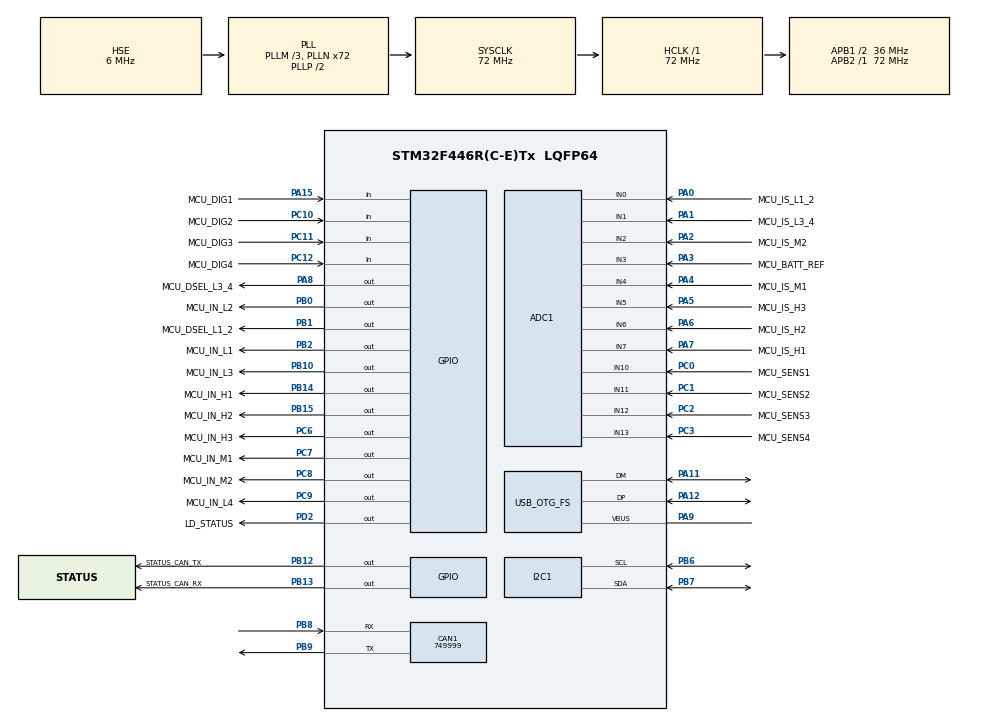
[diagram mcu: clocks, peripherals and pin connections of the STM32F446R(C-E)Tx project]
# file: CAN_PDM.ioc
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ADC1.Channel-0\#ChannelRegularConversion=ADC_CHANNEL_3
ADC1.NbrOfConversion=1
ADC1.NbrOfConversionFlag=1
ADC1.Rank-0\#ChannelRegularConversion=1
ADC1.SamplingTime-0\#ChannelRegularConversion=ADC_SAMPLETIME_3CYCLES
ADC1.master=1
CAN1.BS1=CAN_BS1_1TQ
CAN1.BS2=CAN_BS2_1TQ
CAN1.CalculateBaudRate=749999
CAN1.CalculateTimeBit=1333
CAN1.CalculateTimeQuantum=444.44444444444446
I2C1.I2C_Mode=I2C_Standard
Mcu.Family=STM32F4
Mcu.Name=STM32F446R(C-E)Tx
Mcu.Package=LQFP64
NVIC.OTG_FS_IRQn=true\:0\:0\:false\:false\:true\:false\:true\:true
NVIC.PriorityGroup=NVIC_PRIORITYGROUP_4
PA0-WKUP.GPIO_Label=MCU_IS_L1_2
PA0-WKUP.Signal=ADCx_IN0
PA1.GPIO_Label=MCU_IS_L3_4
PA1.Signal=ADCx_IN1
PA11.GPIO_PuPd=GPIO_NOPULL
PA11.Mode=Device_Only
PA11.Signal=USB_OTG_FS_DM
PA12.GPIO_PuPd=GPIO_NOPULL
PA12.Mode=Device_Only
PA12.Signal=USB_OTG_FS_DP
PA13.Mode=Trace_Asynchronous_SW
PA13.Signal=SYS_JTMS-SWDIO
PA14.Mode=Trace_Asynchronous_SW
PA14.Signal=SYS_JTCK-SWCLK
PA15.GPIO_Label=MCU_DIG1
PA15.Signal=GPIO_Input
PA2.GPIO_Label=MCU_IS_M2
PA2.Signal=ADCx_IN2
PA3.GPIO_Label=MCU_BATT_REF
PA3.Signal=ADCx_IN3
PA4.GPIO_Label=MCU_IS_M1
PA4.Signal=ADCx_IN4
PA5.GPIO_Label=MCU_IS_H3
PA5.Signal=ADCx_IN5
PA6.GPIO_Label=MCU_IS_H2
PA6.Signal=ADCx_IN6
PA7.GPIO_Label=MCU_IS_H1
PA7.Signal=ADCx_IN7
PA8.GPIO_Label=MCU_DSEL_L3_4
PA8.Signal=GPIO_Output
PA9.Mode=Activate_VBUS
PA9.Signal=USB_OTG_FS_VBUS
PB0.GPIO_Label=MCU_IN_L2
PB0.Signal=GPIO_Output
PB1.GPIO_Label=MCU_DSEL_L1_2
PB1.Signal=GPIO_Output
PB10.GPIO_Label=MCU_IN_L3
PB10.Signal=GPIO_Output
PB12.GPIO_Label=STATUS_CAN_TX
PB12.Signal=GPIO_Output
PB13.GPIO_Label=STATUS_CAN_RX
PB13.Signal=GPIO_Output
PB14.GPIO_Label=MCU_IN_H1
PB14.Signal=GPIO_Output
PB15.GPIO_Label=MCU_IN_H2
PB15.Signal=GPIO_Output
PB2.GPIO_Label=MCU_IN_L1
PB2.Signal=GPIO_Output
PB3.Mode=Trace_Asynchronous_SW
PB3.Signal=SYS_JTDO-SWO
PB6.Mode=I2C
PB6.Signal=I2C1_SCL
PB7.Mode=I2C
PB7.Signal=I2C1_SDA
PB8.Mode=CAN_Activate
PB8.Signal=CAN1_RX
PB9.Mode=CAN_Activate
PB9.Signal=CAN1_TX
PC0.GPIO_Label=MCU_SENS1
PC0.Signal=ADCx_IN10
PC1.GPIO_Label=MCU_SENS2
PC1.Signal=ADCx_IN11
PC10.GPIO_Label=MCU_DIG2
PC10.Signal=GPIO_Input
PC11.GPIO_Label=MCU_DIG3
PC11.Signal=GPIO_Input
PC12.GPIO_Label=MCU_DIG4
PC12.Signal=GPIO_Input
PC2.GPIO_Label=MCU_SENS3
PC2.Signal=ADCx_IN12
PC3.GPIO_Label=MCU_SENS4
PC3.Signal=ADCx_IN13
PC6.GPIO_Label=MCU_IN_H3
PC6.Signal=GPIO_Output
PC7.GPIO_Label=MCU_IN_M1
PC7.Signal=GPIO_Output
PC8.GPIO_Label=MCU_IN_M2
PC8.Signal=GPIO_Output
PC9.GPIO_Label=MCU_IN_L4
PC9.Signal=GPIO_Output
PD2.GPIO_Label=LD_STATUS
PD2.Signal=GPIO_Output
PH0-OSC_IN.Mode=HSE-External-Oscillator
PH0-OSC_IN.Signal=RCC_OSC_IN
PH1-OSC_OUT.Mode=HSE-External-Oscillator
PH1-OSC_OUT.Signal=RCC_OSC_OUT
ProjectManager.HeapSize=0x200
ProjectManager.StackSize=0x400
ProjectManager.TargetToolchain=STM32CubeIDE
RCC.AHBFreq_Value=72000000
RCC.APB1CLKDivider=RCC_HCLK_DIV2
RCC.APB1Freq_Value=36000000
RCC.APB1TimFreq_Value=72000000
RCC.APB2Freq_Value=72000000
RCC.APB2TimFreq_Value=72000000
RCC.CortexFreq_Value=72000000
RCC.HCLKFreq_Value=72000000
RCC.HSE_VALUE=6000000
RCC.PLLM=3
RCC.PLLN=72
RCC.PLLQ=3
RCC.PLLSourceVirtual=RCC_PLLSOURCE_HSE
RCC.SYSCLKFreq_VALUE=72000000
RCC.SYSCLKSource=RCC_SYSCLKSOURCE_PLLCLK
RCC.USBFreq_Value=48000000
RCC.VCOOutputFreq_Value=144000000
SH.ADCx_IN0.0=ADC1_IN0,IN0
SH.ADCx_IN1.0=ADC1_IN1,IN1
SH.ADCx_IN10.0=ADC1_IN10,IN10
SH.ADCx_IN11.0=ADC1_IN11,IN11
SH.ADCx_IN12.0=ADC1_IN12,IN12
SH.ADCx_IN13.0=ADC1_IN13,IN13
SH.ADCx_IN2.0=ADC1_IN2,IN2
SH.ADCx_IN3.0=ADC1_IN3,IN3
SH.ADCx_IN4.0=ADC1_IN4,IN4
SH.ADCx_IN5.0=ADC1_IN5,IN5
SH.ADCx_IN6.0=ADC1_IN6,IN6
SH.ADCx_IN7.0=ADC1_IN7,IN7
USB_DEVICE.CLASS_NAME_FS=CDC
USB_DEVICE.VirtualMode-CDC_FS=Cdc
USB_DEVICE.VirtualModeFS=Cdc_FS
USB_OTG_FS.VirtualMode=Device_Only
VP_USB_DEVICE_VS_USB_DEVICE_CDC_FS.Mode=CDC_FS
board=custom

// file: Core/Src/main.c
/* USER CODE BEGIN Header */
/**
  ******************************************************************************
  * @file           : main.c
  * @brief          : Main program body
  ******************************************************************************
  * @attention
  *
  * Copyright (c) 2025 STMicroelectronics.
  * All rights reserved.
  *
  * This software is licensed under terms that can be found in the LICENSE file
  * in the root directory of this software component.
  * If no LICENSE file comes with this software, it is provided AS-IS.
  *
  ******************************************************************************
  */
/* USER CODE END Header */
#include "main.h"
#include "adc.h"
#include "can.h"
#include "i2c.h"
#include "usb_device.h"
#include "gpio.h"

/* USER CODE BEGIN Includes */
#include "PCAL6524.h"
#include "MCP9803.h"
/* USER CODE END Includes */

/* USER CODE BEGIN PD */
uint16_t count = 0;
uint16_t voltage_mV = 0;
uint32_t vin_mV = 0;
#define R1 51000
#define R2 7500
#define ADC_REF_MV 3300  // 3.3V reference

int temperature;
/* USER CODE END PD */

void SystemClock_Config(void);

int main(void)
{

  /* MCU Configuration--------------------------------------------------------*/

  /* Reset of all peripherals, Initializes the Flash interface and the Systick. */
  HAL_Init();

  /* Configure the system clock */
  SystemClock_Config();

  /* Initialize all configured peripherals */
  MX_GPIO_Init();
  MX_CAN1_Init();
  MX_I2C1_Init();
  MX_USB_DEVICE_Init();
  MX_ADC1_Init();
  /* USER CODE BEGIN 2 */
  PCAL6524 Io_Exp;
  Io_Exp.hi2c = &hi2c1;       // handle I2C
  Io_Exp.i2c_addr = 0x22 << 1; // I2C Address PCAL6524

  //Set LOW logic pin to all pin
  PCAL6524_WritePort(&Io_Exp, 0, LOW);
  PCAL6524_WritePort(&Io_Exp, 1, LOW);
  PCAL6524_WritePort(&Io_Exp, 2, LOW);
  //Set port Direction to OUTPUT
  PCAL6524_SetPortDirection_io(&Io_Exp, 0, OUTPUT);
  PCAL6524_SetPortDirection_io(&Io_Exp, 1, OUTPUT);
  PCAL6524_SetPortDirection_io(&Io_Exp, 2, OUTPUT);
  //Delay for start-up
  HAL_Delay(1000);

  //Blink every output
  for (int var = 0; var < 8; ++var) {
	  PCAL6524_WritePin(&Io_Exp, 0, var, HIGH);
	  HAL_Delay(70);
	  PCAL6524_WritePin(&Io_Exp, 0, var, LOW);
	  HAL_Delay(70);
}
  for (int var = 0; var < 8; ++var) {
  	  PCAL6524_WritePin(&Io_Exp, 1, var, HIGH);
  	  HAL_Delay(70);
  	  PCAL6524_WritePin(&Io_Exp, 1, var, LOW);
  	  HAL_Delay(70);
  }
  for (int var = 0; var < 8; ++var) {
  	  PCAL6524_WritePin(&Io_Exp, 2, var, HIGH);
  	  HAL_Delay(70);
  	  PCAL6524_WritePin(&Io_Exp, 2, var, LOW);
  	  HAL_Delay(70);
  }

  /* USER CODE END 2 */

  /* Infinite loop */
  while (1)
  {

    /* USER CODE BEGIN 3 */
	  HAL_ADC_Start(&hadc1);
	  HAL_ADC_PollForConversion(&hadc1, 1);
	  count = HAL_ADC_GetValue(&hadc1);
	  // Voltage mV
	     voltage_mV = (count * ADC_REF_MV) / 4095;
	  // Voltage vin
	     vin_mV = (voltage_mV * (R1 + R2)) / R2;

HAL_Delay(500);

  }
  /* USER CODE END 3 */
}

void SystemClock_Config(void)
{
  RCC_OscInitTypeDef RCC_OscInitStruct = {0};
  RCC_ClkInitTypeDef RCC_ClkInitStruct = {0};

  /** Configure the main internal regulator output voltage
  */
  __HAL_RCC_PWR_CLK_ENABLE();
  __HAL_PWR_VOLTAGESCALING_CONFIG(PWR_REGULATOR_VOLTAGE_SCALE3);

  /** Initializes the RCC Oscillators according to the specified parameters
  * in the RCC_OscInitTypeDef structure.
  */
  RCC_OscInitStruct.OscillatorType = RCC_OSCILLATORTYPE_HSE;
  RCC_OscInitStruct.HSEState = RCC_HSE_ON;
  RCC_OscInitStruct.PLL.PLLState = RCC_PLL_ON;
  RCC_OscInitStruct.PLL.PLLSource = RCC_PLLSOURCE_HSE;
  RCC_OscInitStruct.PLL.PLLM = 3;
  RCC_OscInitStruct.PLL.PLLN = 72;
  RCC_OscInitStruct.PLL.PLLP = RCC_PLLP_DIV2;
  RCC_OscInitStruct.PLL.PLLQ = 3;
  RCC_OscInitStruct.PLL.PLLR = 2;
  if (HAL_RCC_OscConfig(&RCC_OscInitStruct) != HAL_OK)
  {
    Error_Handler();
  }

  /** Initializes the CPU, AHB and APB buses clocks
  */
  RCC_ClkInitStruct.ClockType = RCC_CLOCKTYPE_HCLK|RCC_CLOCKTYPE_SYSCLK
                              |RCC_CLOCKTYPE_PCLK1|RCC_CLOCKTYPE_PCLK2;
  RCC_ClkInitStruct.SYSCLKSource = RCC_SYSCLKSOURCE_PLLCLK;
  RCC_ClkInitStruct.AHBCLKDivider = RCC_SYSCLK_DIV1;
  RCC_ClkInitStruct.APB1CLKDivider = RCC_HCLK_DIV2;
  RCC_ClkInitStruct.APB2CLKDivider = RCC_HCLK_DIV1;

  if (HAL_RCC_ClockConfig(&RCC_ClkInitStruct, FLASH_LATENCY_2) != HAL_OK)
  {
    Error_Handler();
  }
}

void Error_Handler(void)
{
  __disable_irq();
  while (1)
  {
  }
}
